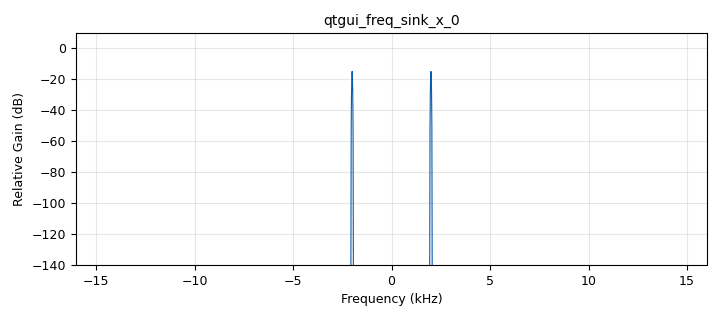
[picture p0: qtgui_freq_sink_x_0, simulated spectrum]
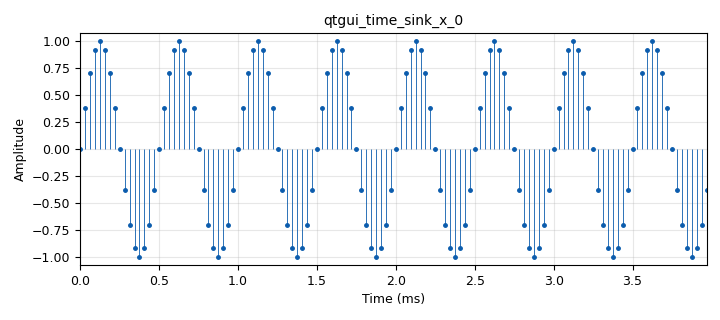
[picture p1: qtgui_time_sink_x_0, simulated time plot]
options:
  parameters:
    author: labcom
    generate_options: qt_gui
    id: lab1
    output_language: python
    title: punto1
  states: {}

blocks:
- name: freq
  id: variable_qtgui_range
  parameters:
    label: Frequency
    start: '1000'
    step: '1000'
    stop: '40000'
    value: '2000'
  states: {}
- name: samp_rate
  id: variable
  parameters:
    value: '32000'
  states: {state: disabled}
- name: samp_rate1
  id: variable_qtgui_range
  parameters:
    label: Frecuencia de Muestreo
    start: '1000'
    step: '1000'
    stop: '400000'
    value: '32000'
  states: {}
- name: analog_sig_source_x_0
  id: analog_sig_source_x
  parameters:
    amp: '1'
    freq: freq
    offset: '0'
    phase: '0'
    samp_rate: samp_rate1
    type: float
    waveform: analog.GR_SIN_WAVE
  states: {}
- name: blocks_throttle_0
  id: blocks_throttle
  parameters:
    samples_per_second: samp_rate1
    type: float
  states: {}
- name: qtgui_freq_sink_x_0
  id: qtgui_freq_sink_x
  parameters:
    bw: samp_rate1
    fc: '0'
    fftsize: '2048'
    type: float
  states: {}
- name: qtgui_time_sink_x_0
  id: qtgui_time_sink_x
  parameters:
    grid: 'True'
    size: '128'
    srate: samp_rate1
    stemplot: 'True'
    type: float
  states: {}

connections:
- [analog_sig_source_x_0, '0', blocks_throttle_0, '0']
- [blocks_throttle_0, '0', qtgui_freq_sink_x_0, '0']
- [blocks_throttle_0, '0', qtgui_time_sink_x_0, '0']

metadata:
  file_format: 1
